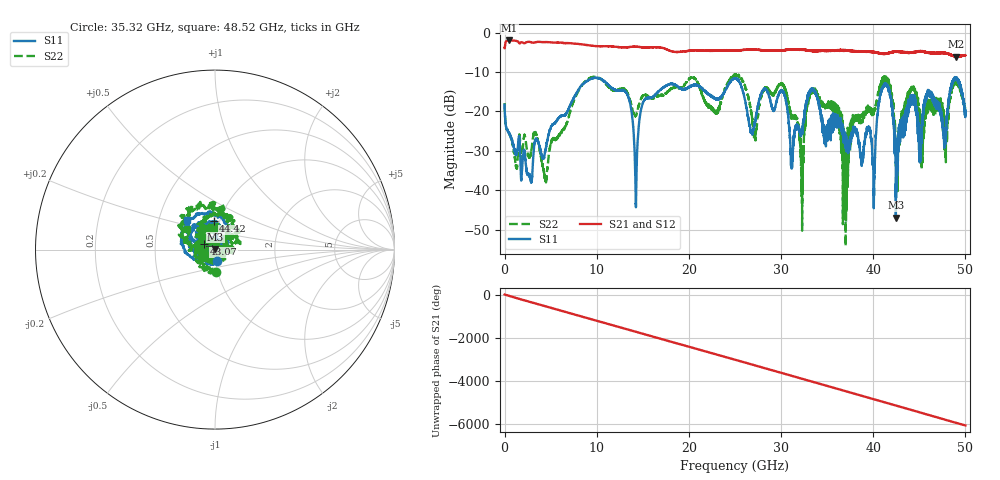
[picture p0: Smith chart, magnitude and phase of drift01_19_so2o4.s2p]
!Created with skrf (http://scikit-rf.org).
# Hz S RI R 50.0
!freq ReS11 ImS11 ReS21 ImS21 ReS12 ImS12 ReS22 ImS22
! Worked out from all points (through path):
!   10001 points, 300 kHz to 50 GHz, reference 50 ohm
!   highest |S21| = -2.00 dB at 520.3 MHz (marker M1); lowest = -6.1 dB at 48.98 GHz (marker M2)
!   group delay of S21, straight-line fit = 336 ps
!   lowest |S11| = -47.0 dB at 42.46 GHz (marker M3), VSWR 1.01, Z = 50.2 + j0.392 ohm
!   |S11| at or under -10 dB: start of sweep to end of sweep
!   |S22| runs from -54.2 to -10.5 dB; largest |S21 - S12| = 0.018
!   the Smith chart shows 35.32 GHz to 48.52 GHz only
!   S11 on the Smith chart (normalised r, x): 35.32 GHz: 1.02, -0.13; 43.07 GHz: 0.88, +0.06; 44.42 GHz: 0.94, +0.30; 48.52 GHz: 0.70, +0.24
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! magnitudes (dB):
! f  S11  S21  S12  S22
! 300 kHz  -18.3  -3.9  -4.0  -17.9
! 520.3 MHz  -25.7  -2.0  -2.0  -25.6
! 4.435 GHz  -29.8  -2.4  -2.4  -37.1
! 8.335 GHz  -13.5  -3.0  -3.0  -13.5
! 13.16 GHz  -15.1  -3.8  -3.8  -14.6
! 14.25 GHz  -43.3  -3.6  -3.6  -21.1
! 16.67 GHz  -14.9  -3.7  -3.7  -15.9
! 25 GHz  -11.6  -4.5  -4.6  -10.9
! 27.15 GHz  -22.6  -4.3  -4.3  -26.0
! 30.2 GHz  -15.1  -4.5  -4.5  -13.2
! 32.23 GHz  -25.2  -4.4  -4.3  -38.0
! 33.34 GHz  -14.2  -4.7  -4.6  -14.7
! 35.32 GHz  -23.9  -4.6  -4.6  -18.1
! 37.04 GHz  -27.1  -4.6  -4.5  -30.9
! 40.06 GHz  -43.0  -4.9  -5.0  -20.4
! 41.67 GHz  -14.3  -5.1  -5.1  -12.5
! 42.46 GHz  -47.0  -4.8  -4.9  -33.4
! 43.07 GHz  -23.0  -4.9  -5.0  -21.4
! 44.42 GHz  -16.0  -5.1  -5.0  -14.4
! 48.52 GHz  -13.0  -5.7  -5.7  -14.4
! 48.98 GHz  -11.5  -6.1  -6.0  -12.8
! 50 GHz  -19.9  -5.8  -5.8  -19.6
